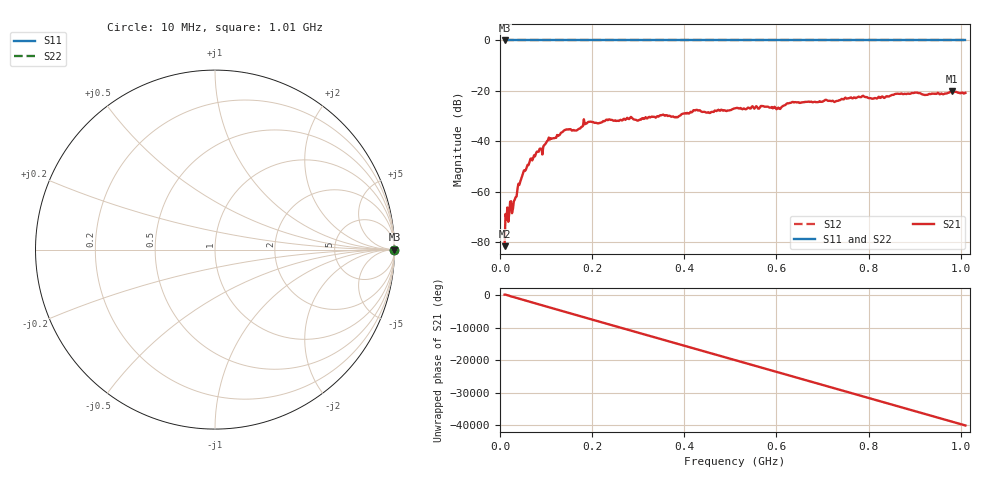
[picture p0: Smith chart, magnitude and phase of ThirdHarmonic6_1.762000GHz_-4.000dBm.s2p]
! 8/16/2025 9:16:08 PM
! C:\ANRITSUVNA\TEMP\TEMP.S2P
! CHANNEL.1
! TR.MEASUREMENT
! RAW.DATA
! RF.CORRECTION.OFF
! AVERAGING.OFF
! IF.BANDWIDTH: 5KHZ
! SWEEPTYPE:  FREQ.SWEEP(Linear)
! Reference Plane Port Info
! PORT:  PORT1  PORT2
! DISTANCE:  0  m  0  m
! TIME:  0  s  0  s
! PHASE.OFFSET:  0  deg.  0  deg.
! LOSS:  0  dB  0  dB
! REF.LOSS:  0  dB  0  dB
! REF.FREQ:  0  Hz  0  Hz
! Power Info
! POWER:  -20  dBm  -20  dBm
! EFF.POWER:  -20  dBm  -20  dBm
! SOURCE.ATTEN:  0  dB  0  dB
! TEST.ATTEN:  0  dB  0  dB
# GHZ S RI R 50.0
! FREQ.GHZ  S11RE  S11IM  S21RE  S21IM  S12RE  S12IM  S22RE  S22IM
!; PortSelection: Port_12
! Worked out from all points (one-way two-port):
!   501 points, 10 MHz to 1.01 GHz, reference 50 ohm
!   highest |S21| = -20.17 dB at 980 MHz (marker M1); lowest = -81.7 dB at 10 MHz (marker M2)
!   lowest |S11| = 0.0 dB at 10 MHz (marker M3)
!   |S11| at or under -10 dB: nowhere
!   |S22| runs from 0.0 to 0.0 dB; largest |S21 - S12| = 1.1
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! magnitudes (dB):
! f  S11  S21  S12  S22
! 10 MHz  0.0  -81.7  0.0  0.0
! 16 MHz  0.0  -66.3  0.0  0.0
! 20 MHz  0.0  -68.7  0.0  0.0
! 30 MHz  0.0  -64.0  0.0  0.0
! 42 MHz  0.0  -57.3  0.0  0.0
! 64 MHz  0.0  -48.4  0.0  0.0
! 106 MHz  0.0  -38.5  0.0  0.0
! 142 MHz  0.0  -35.5  0.0  0.0
! 166 MHz  0.0  -35.8  0.0  0.0
! 178 MHz  0.0  -34.2  0.0  0.0
! 194 MHz  0.0  -32.3  0.0  0.0
! 344 MHz  0.0  -30.2  0.0  0.0
! 382 MHz  0.0  -30.4  0.0  0.0
! 424 MHz  0.0  -27.8  0.0  0.0
! 452 MHz  0.0  -28.5  0.0  0.0
! 510 MHz  0.0  -26.9  0.0  0.0
! 604 MHz  0.0  -26.7  0.0  0.0
! 632 MHz  0.0  -24.7  0.0  0.0
! 678 MHz  0.0  -24.6  0.0  0.0
! 844 MHz  0.0  -22.2  0.0  0.0
! 980 MHz  0.0  -20.2  0.0  0.0
! 1.01 GHz  0.0  -20.8  0.0  0.0
